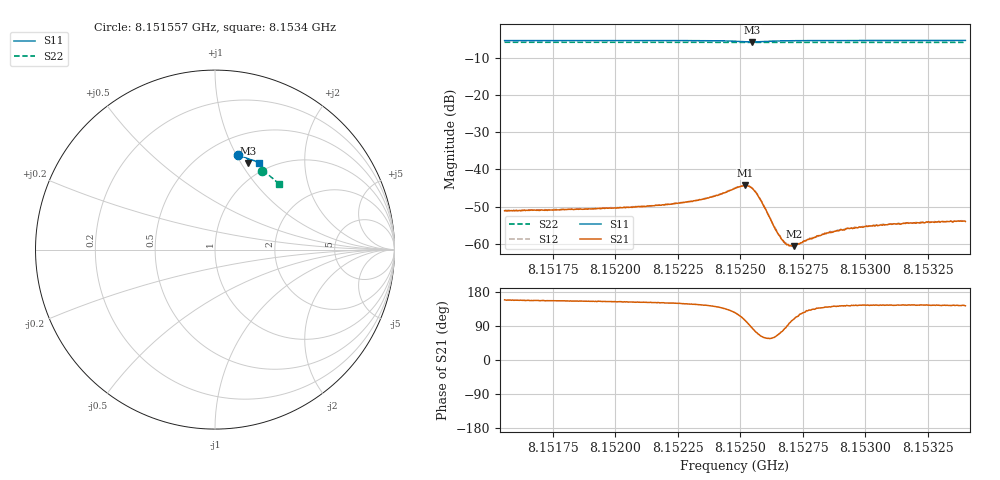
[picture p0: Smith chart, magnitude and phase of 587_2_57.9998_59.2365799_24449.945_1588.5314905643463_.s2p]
#  HZ  S  RI  R  50.00
! Rohde & Schwarz Vector Network Analyzer
! Rohde-Schwarz,ZNB20-2Port,1311601062101988,3.16
! Created: UTC 3/21/2024, 1:16:40 AM
! freq[Hz]  re:S11  im:S11  re:S21  im:S21  re:S12  im:S12  re:S22  im:S22
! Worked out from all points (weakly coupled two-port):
!   401 points, 8.151557 GHz to 8.1534 GHz, reference 50 ohm
!   highest |S21| = -44.32 dB at 8.15252 GHz (marker M1); lowest = -60.6 dB at 8.152714 GHz (marker M2)
!   lowest |S11| = -5.7 dB at 8.152548 GHz (marker M3), VSWR 3.14, Z = 40.7 + j53.7 ohm
!   |S11| at or under -10 dB: nowhere
!   |S22| runs from -5.8 to -5.8 dB; largest |S21 - S12| = 0.00012
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8.1515571e9  0.1279 0.5246  -0.00259 0.00101  -0.00258 0.00109  0.2636 0.4396
8.1518658e9  0.1495 0.5193  -0.00265 0.00121  -0.00267 0.00125  0.2801 0.4287
8.1521746e9  0.1716 0.5125  -0.0029 0.00158  -0.00288 0.00165  0.2962 0.4172
8.1522944e9  0.1809 0.5088  -0.00312 0.00197  -0.00309 0.00203  0.3023 0.4125
8.1523681e9  0.1873 0.5053  -0.00333 0.00242  -0.00329 0.00248  0.3061 0.4096
8.1524188e9  0.1919 0.5013  -0.00346 0.00305  -0.00345 0.0031  0.3087 0.4077
8.1524787e9  0.196 0.4926  -0.00319 0.00457  -0.00317 0.00462  0.3115 0.4048
8.1525202e9  0.1917 0.4837  -0.00145 0.0059  -0.00143 0.00597  0.3133 0.4031
8.152534e9  0.1878 0.4822  -0.000431 0.00593  -0.000381 0.00601  0.3136 0.4025
8.1525478e9  0.1835 0.4829  0.00057 0.00553  0.000651 0.00555  0.3141 0.402
8.1525616e9  0.18 0.4856  0.00134 0.00474  0.00138 0.00479  0.3148 0.4016
8.1525801e9  0.1783 0.4905  0.00173 0.00353  0.00175 0.00354  0.3156 0.401
8.1526353e9  0.184 0.5001  0.000855 0.00146  0.000893 0.00147  0.3186 0.3993
8.152663e9  0.1878 0.5015  0.000329 0.00113  0.000375 0.00113  0.32 0.3981
8.152686e9  0.1908 0.502  1.05e-05 0.000968  1.61e-05 0.000993  0.3213 0.3973
8.1526999e9  0.1924 0.5021  -0.000151 0.000934  -0.000155 0.000934  0.3219 0.3967
8.1527137e9  0.1939 0.5021  -0.000283 0.000892  -0.000286 0.000905  0.3227 0.3961
8.1527874e9  0.2012 0.501  -0.000804 0.000846  -0.000808 0.000906  0.3263 0.393
8.1528519e9  0.2067 0.4996  -0.00107 0.000899  -0.00105 0.00095  0.3295 0.3902
8.1529349e9  0.213 0.4976  -0.00128 0.000961  -0.00128 0.000969  0.3334 0.3868
8.1530961e9  0.2245 0.4932  -0.0015 0.00105  -0.00151 0.00106  0.3412 0.3798
8.1534002e9  0.2444 0.4843  -0.00159 0.0012  -0.00163 0.00121  0.3551 0.3664
